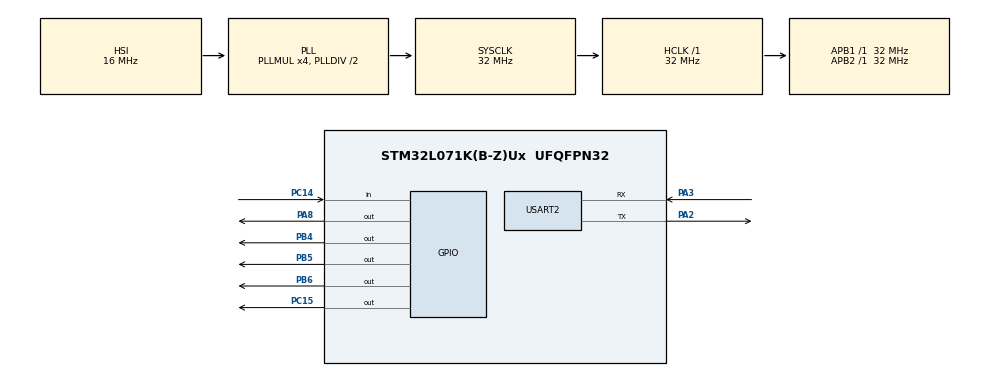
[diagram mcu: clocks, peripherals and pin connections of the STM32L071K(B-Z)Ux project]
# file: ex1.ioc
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Dma.MEMTOMEM.1.Direction=DMA_MEMORY_TO_MEMORY
Dma.MEMTOMEM.1.Instance=DMA1_Channel1
Dma.MEMTOMEM.1.MemDataAlignment=DMA_MDATAALIGN_WORD
Dma.MEMTOMEM.1.MemInc=DMA_MINC_ENABLE
Dma.MEMTOMEM.1.Mode=DMA_NORMAL
Dma.MEMTOMEM.1.PeriphDataAlignment=DMA_PDATAALIGN_WORD
Dma.MEMTOMEM.1.PeriphInc=DMA_PINC_ENABLE
Dma.MEMTOMEM.1.Priority=DMA_PRIORITY_LOW
Dma.Request0=USART2_RX
Dma.Request1=MEMTOMEM
Dma.USART2_RX.0.Direction=DMA_PERIPH_TO_MEMORY
Dma.USART2_RX.0.Instance=DMA1_Channel5
Dma.USART2_RX.0.MemDataAlignment=DMA_MDATAALIGN_WORD
Dma.USART2_RX.0.MemInc=DMA_MINC_ENABLE
Dma.USART2_RX.0.Mode=DMA_CIRCULAR
Dma.USART2_RX.0.PeriphDataAlignment=DMA_PDATAALIGN_WORD
Dma.USART2_RX.0.PeriphInc=DMA_PINC_DISABLE
Dma.USART2_RX.0.Priority=DMA_PRIORITY_LOW
Mcu.Family=STM32L0
Mcu.Name=STM32L071K(B-Z)Ux
Mcu.Package=UFQFPN32
NVIC.DMA1_Channel1_IRQn=true\:0\:0\:false\:false\:true\:true\:true
NVIC.DMA1_Channel4_5_6_7_IRQn=true\:0\:0\:false\:false\:true\:false\:true
NVIC.USART2_IRQn=true\:0\:0\:false\:false\:true\:true\:true
PA2.Mode=Asynchronous
PA2.Signal=USART2_TX
PA3.Mode=Asynchronous
PA3.Signal=USART2_RX
PA8.Signal=GPIO_Output
PB4.Signal=GPIO_Output
PB5.Signal=GPIO_Output
PB6.Signal=GPIO_Output
PC14-OSC32_IN.Signal=GPIO_Input
PC15-OSC32_OUT.Signal=GPIO_Output
ProjectManager.HeapSize=0x200
ProjectManager.StackSize=0x400
ProjectManager.TargetToolchain=MDK-ARM V5
RCC.AHBFreq_Value=32000000
RCC.APB1Freq_Value=32000000
RCC.APB1TimFreq_Value=32000000
RCC.APB2Freq_Value=32000000
RCC.APB2TimFreq_Value=32000000
RCC.HCLKFreq_Value=32000000
RCC.HSI16_VALUE=16000000
RCC.HSI_VALUE=16000000
RCC.LSE_VALUE=32768
RCC.MSI_VALUE=2097000
RCC.PLLMUL=RCC_PLLMUL_4
RCC.SYSCLKFreq_VALUE=32000000
RCC.SYSCLKSource=RCC_SYSCLKSOURCE_PLLCLK
RCC.VCOOutputFreq_Value=64000000
USART2.VirtualMode-Asynchronous=VM_ASYNC
board=custom

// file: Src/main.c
/* USER CODE BEGIN Header */
/**
  ******************************************************************************
  * @file           : main.c
  * @brief          : Main program body
  ******************************************************************************
  * @attention
  *
  * <h2><center>&copy; Copyright (c) 2019 STMicroelectronics.
  * All rights reserved.</center></h2>
  *
  * This software component is licensed by ST under BSD 3-Clause license,
  * the "License"; You may not use this file except in compliance with the
  * License. You may obtain a copy of the License at:
  *                        opensource.org/licenses/BSD-3-Clause
  *
  ******************************************************************************
  */
/* USER CODE END Header */

#include "main.h"
#include "dma.h"
#include "usart.h"
#include "gpio.h"

/* USER CODE BEGIN PTD */
unsigned char send[]="123456\n";
unsigned char reply[50];
unsigned int i;
unsigned char str[]="\r\nUART1 Idle IQR Detected\r\n";
/* USER CODE END PTD */

void SystemClock_Config(void);

/* USER CODE BEGIN 0 */
void Task_BrdInit(void)
{
    HAL_GPIO_WritePin(GPIOC, GPIO_PIN_15, GPIO_PIN_SET);

    OLED_PowerControl(ENABLE);

    HAL_Delay(200);
    OLED_Init();
    OLED_Clear();

    OLED_ShowString(0, 0, (unsigned char *)"                ", 16);
    OLED_ShowString(0, 2, (unsigned char *)"                ", 16);
}
void rx(void)
{
	if(RESET != __HAL_UART_GET_FLAG(&huart2, UART_FLAG_IDLE))   //判断是否是空闲中断
	{
		__HAL_UART_CLEAR_IDLEFLAG(&huart2); //清楚空闲中断标志（否则会一直不断进入中断）
		HAL_UART_DMAStop(&huart2);

    HAL_UART_Transmit(&huart2,reply,sizeof(reply),100);//测试：将接收到的数据打印出去
//    memset(reply,0,sizeof(reply));   //清零接收缓冲区

    HAL_UART_Receive_DMA(&huart2,reply,50);//重启开始DMA传输 每次255字节数据
	}
}
/* USER CODE END 0 */

int main(void)
{
  /* USER CODE BEGIN 1 */
    char lcdLine_1st_line[16];
    char lcdLine_2st_line[16];

  /* USER CODE END 1 */

  /* MCU Configuration--------------------------------------------------------*/

  /* Reset of all peripherals, Initializes the Flash interface and the Systick. */
  HAL_Init();

  /* Configure the system clock */
  SystemClock_Config();

  /* Initialize all configured peripherals */
  MX_GPIO_Init();
  MX_DMA_Init();
  MX_USART2_UART_Init();
  /* USER CODE BEGIN 2 */
    Task_BrdInit();
		__HAL_UART_CLEAR_IDLEFLAG(&huart2);
		__HAL_UART_ENABLE_IT(&huart2, UART_IT_IDLE);
		HAL_UART_Receive_DMA(&huart2,reply,50);
		HAL_UART_Transmit(&huart2,send,sizeof(send),100);
  /* USER CODE END 2 */

  /* Infinite loop */
    while (1)
    {

    /* USER CODE BEGIN 3 */
			sprintf(lcdLine_1st_line, "GXCT IOT       ");
			sprintf(lcdLine_2st_line, "Hello World    ");
//			printf("Hello World!\n");  // \n表示换行

			OLED_ShowString(0, 0, (unsigned char *)lcdLine_1st_line, 16);
			OLED_ShowString(0, 2, (unsigned char *)lcdLine_2st_line, 16);
			if(reply[1]=='2')
			{
				HAL_GPIO_TogglePin(GPIOC, GPIO_PIN_15);
				memset(reply,0,sizeof(reply));
			}
//			if(i==1)
//			{
//				HAL_Delay(500);
//				HAL_UART_Transmit(&huart2,reply,8,100);
//				i=0;
//			}
    }
  /* USER CODE END 3 */
}
/* USER CODE BEGIN 4 */
//void HAL_UART_RxCpltCallback(UART_HandleTypeDef *huart)
//void HAL_UART_RxHalfCpltCallback(UART_HandleTypeDef *huart)
//{
////	i=1;
////	HAL_Delay(500);
////	HAL_UART_DMAStop(&huart2);
////	HAL_UART_Receive_DMA(&huart2,reply,8);
//}
/* USER CODE END 4 */
void SystemClock_Config(void)
{
  RCC_OscInitTypeDef RCC_OscInitStruct = {0};
  RCC_ClkInitTypeDef RCC_ClkInitStruct = {0};
  RCC_PeriphCLKInitTypeDef PeriphClkInit = {0};

  /** Configure the main internal regulator output voltage
  */
  __HAL_PWR_VOLTAGESCALING_CONFIG(PWR_REGULATOR_VOLTAGE_SCALE1);
  /** Initializes the CPU, AHB and APB busses clocks
  */
  RCC_OscInitStruct.OscillatorType = RCC_OSCILLATORTYPE_HSI;
  RCC_OscInitStruct.HSIState = RCC_HSI_ON;
  RCC_OscInitStruct.HSICalibrationValue = RCC_HSICALIBRATION_DEFAULT;
  RCC_OscInitStruct.PLL.PLLState = RCC_PLL_ON;
  RCC_OscInitStruct.PLL.PLLSource = RCC_PLLSOURCE_HSI;
  RCC_OscInitStruct.PLL.PLLMUL = RCC_PLLMUL_4;
  RCC_OscInitStruct.PLL.PLLDIV = RCC_PLLDIV_2;
  if (HAL_RCC_OscConfig(&RCC_OscInitStruct) != HAL_OK)
  {
    Error_Handler();
  }
  /** Initializes the CPU, AHB and APB busses clocks
  */
  RCC_ClkInitStruct.ClockType = RCC_CLOCKTYPE_HCLK|RCC_CLOCKTYPE_SYSCLK
                              |RCC_CLOCKTYPE_PCLK1|RCC_CLOCKTYPE_PCLK2;
  RCC_ClkInitStruct.SYSCLKSource = RCC_SYSCLKSOURCE_PLLCLK;
  RCC_ClkInitStruct.AHBCLKDivider = RCC_SYSCLK_DIV1;
  RCC_ClkInitStruct.APB1CLKDivider = RCC_HCLK_DIV1;
  RCC_ClkInitStruct.APB2CLKDivider = RCC_HCLK_DIV1;

  if (HAL_RCC_ClockConfig(&RCC_ClkInitStruct, FLASH_LATENCY_1) != HAL_OK)
  {
    Error_Handler();
  }
  PeriphClkInit.PeriphClockSelection = RCC_PERIPHCLK_USART2;
  PeriphClkInit.Usart2ClockSelection = RCC_USART2CLKSOURCE_PCLK1;
  if (HAL_RCCEx_PeriphCLKConfig(&PeriphClkInit) != HAL_OK)
  {
    Error_Handler();
  }
}

void Error_Handler(void)
{
}

/************************ (C) COPYRIGHT STMicroelectronics *****END OF FILE****/
